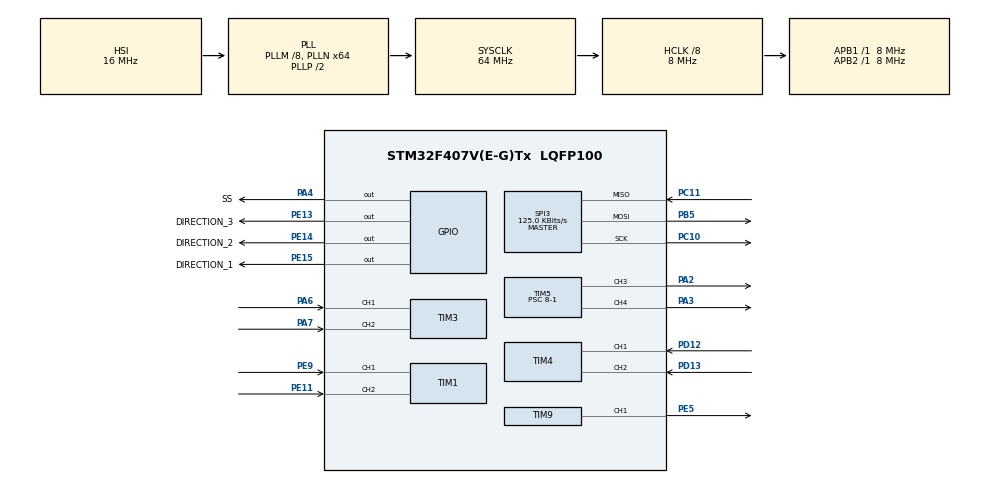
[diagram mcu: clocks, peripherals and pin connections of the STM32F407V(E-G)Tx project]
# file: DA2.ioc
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FREERTOS.Tasks01=CONTROL,8,128,StartControl,Default,NULL,Dynamic,NULL,NULL;PID,24,128,StartPID,Default,NULL,Dynamic,NULL,NULL
Mcu.Family=STM32F4
Mcu.Name=STM32F407V(E-G)Tx
Mcu.Package=LQFP100
NVIC.PriorityGroup=NVIC_PRIORITYGROUP_4
NVIC.TIM1_UP_TIM10_IRQn=true\:15\:0\:false\:false\:true\:false\:false\:true\:true
NVIC.TimeBase=TIM1_UP_TIM10_IRQn
NVIC.TimeBaseIP=TIM10
PA13.Mode=Serial_Wire
PA13.Signal=SYS_JTMS-SWDIO
PA14.Mode=Serial_Wire
PA14.Signal=SYS_JTCK-SWCLK
PA2.Signal=S_TIM5_CH3
PA3.Signal=S_TIM5_CH4
PA4.GPIO_Label=SS
PA4.PinState=GPIO_PIN_RESET
PA4.Signal=GPIO_Output
PA6.Signal=S_TIM3_CH1
PA7.Signal=S_TIM3_CH2
PB5.Mode=Full_Duplex_Master
PB5.Signal=SPI3_MOSI
PC10.Mode=Full_Duplex_Master
PC10.Signal=SPI3_SCK
PC11.Mode=Full_Duplex_Master
PC11.Signal=SPI3_MISO
PD12.Signal=S_TIM4_CH1
PD13.Signal=S_TIM4_CH2
PE11.Signal=S_TIM1_CH2
PE13.GPIO_Label=DIRECTION_3
PE13.Signal=GPIO_Output
PE14.GPIO_Label=DIRECTION_2
PE14.Signal=GPIO_Output
PE15.GPIO_Label=DIRECTION_1
PE15.Signal=GPIO_Output
PE5.Signal=S_TIM9_CH1
PE9.Signal=S_TIM1_CH1
PH0-OSC_IN.Mode=HSE-External-Oscillator
PH0-OSC_IN.Signal=RCC_OSC_IN
PH1-OSC_OUT.Mode=HSE-External-Oscillator
PH1-OSC_OUT.Signal=RCC_OSC_OUT
ProjectManager.HeapSize=0x200
ProjectManager.StackSize=0x400
ProjectManager.TargetToolchain=STM32CubeIDE
RCC.48MHZClocksFreq_Value=32000000
RCC.AHBCLKDivider=RCC_SYSCLK_DIV8
RCC.AHBFreq_Value=8000000
RCC.APB1Freq_Value=8000000
RCC.APB1TimFreq_Value=8000000
RCC.APB2Freq_Value=8000000
RCC.APB2TimFreq_Value=8000000
RCC.CortexFreq_Value=8000000
RCC.HCLKFreq_Value=8000000
RCC.HSE_VALUE=25000000
RCC.HSI_VALUE=16000000
RCC.LSE_VALUE=32768
RCC.PLLM=8
RCC.PLLN=64
RCC.SYSCLKFreq_VALUE=64000000
RCC.SYSCLKSource=RCC_SYSCLKSOURCE_PLLCLK
RCC.VCOOutputFreq_Value=128000000
SH.S_TIM1_CH1.0=TIM1_CH1,Encoder_Interface
SH.S_TIM1_CH2.0=TIM1_CH2,Encoder_Interface
SH.S_TIM3_CH1.0=TIM3_CH1,Encoder_Interface
SH.S_TIM3_CH2.0=TIM3_CH2,Encoder_Interface
SH.S_TIM4_CH1.0=TIM4_CH1,Encoder_Interface
SH.S_TIM4_CH2.0=TIM4_CH2,Encoder_Interface
SH.S_TIM5_CH3.0=TIM5_CH3,PWM Generation3 CH3
SH.S_TIM5_CH4.0=TIM5_CH4,PWM Generation4 CH4
SH.S_TIM9_CH1.0=TIM9_CH1,PWM Generation1 CH1
SPI3.BaudRatePrescaler=SPI_BAUDRATEPRESCALER_64
SPI3.CLKPhase=SPI_PHASE_2EDGE
SPI3.CLKPolarity=SPI_POLARITY_HIGH
SPI3.CalculateBaudRate=125.0 KBits/s
SPI3.Direction=SPI_DIRECTION_2LINES
SPI3.FirstBit=SPI_FIRSTBIT_LSB
SPI3.Mode=SPI_MODE_MASTER
SPI3.VirtualNSS=VM_NSSHARD
SPI3.VirtualType=VM_MASTER
TIM1.EncoderMode=TIM_ENCODERMODE_TI12
TIM3.EncoderMode=TIM_ENCODERMODE_TI12
TIM4.EncoderMode=TIM_ENCODERMODE_TI12
TIM5.Channel-PWM\ Generation3\ CH3=TIM_CHANNEL_3
TIM5.Channel-PWM\ Generation4\ CH4=TIM_CHANNEL_4
TIM5.Period=100-1
TIM5.Prescaler=8-1
TIM9.Channel-PWM\ Generation1\ CH1=TIM_CHANNEL_1
TIM9.Period=100-1
TIM9.Prescaler=8-1
VP_FREERTOS_VS_CMSIS_V2.Mode=CMSIS_V2
VP_SYS_VS_tim10.Mode=TIM10
VP_TIM5_VS_ClockSourceINT.Mode=Internal
VP_TIM9_VS_ClockSourceINT.Mode=Internal
board=custom

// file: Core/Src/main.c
/* USER CODE BEGIN Header */
/**
  ******************************************************************************
  * @file           : main.c
  * @brief          : Main program body
  ******************************************************************************
  * @attention
  *
  * Copyright (c) 2024 STMicroelectronics.
  * All rights reserved.
  *
  * This software is licensed under terms that can be found in the LICENSE file
  * in the root directory of this software component.
  * If no LICENSE file comes with this software, it is provided AS-IS.
  *
  ******************************************************************************
  */
/* USER CODE END Header */
#include "main.h"
#include "cmsis_os.h"

SPI_HandleTypeDef hspi3;

TIM_HandleTypeDef htim1;
TIM_HandleTypeDef htim3;
TIM_HandleTypeDef htim4;
TIM_HandleTypeDef htim5;
TIM_HandleTypeDef htim9;

/* Definitions for CONTROL */
osThreadId_t CONTROLHandle;
const osThreadAttr_t CONTROL_attributes = {
  .name = "CONTROL",
  .stack_size = 128 * 4,
  .priority = (osPriority_t) osPriorityLow,
};
/* Definitions for PID */
osThreadId_t PIDHandle;
const osThreadAttr_t PID_attributes = {
  .name = "PID",
  .stack_size = 128 * 4,
  .priority = (osPriority_t) osPriorityNormal,
};

void SystemClock_Config(void);
static void MX_GPIO_Init(void);
static void MX_TIM1_Init(void);
static void MX_TIM3_Init(void);
static void MX_TIM4_Init(void);
static void MX_TIM5_Init(void);
static void MX_TIM9_Init(void);
static void MX_SPI3_Init(void);
void StartControl(void *argument);
void StartPID(void *argument);

/* USER CODE BEGIN 0 */
PID_Param_t pid;
double out_1, out_2, out_3=0;
double rpm_1, rpm_2, rpm_3=0;

double Vd=0;
double Theta=0;

uint8_t select_hand=5;
uint8_t flag_V_slow=false;
uint8_t rx_data;

void pid_config(void){
	pid.Kp=0.3;
	pid.Ki=0.2;
	pid.Kd=0.005;
	pid.target_val_1=V1;
	pid.target_val_2=V2;
	pid.target_val_3=V3;
	PID_init(&pid);
}

/**---UART6 Interrupt--*/
//void HAL_UART_RxCpltCallback(UART_HandleTypeDef *huart){
//	if(huart->Instance == USART3){
//		HAL_UART_Receive_IT(&huart3, &rx_data, 1);
//	}
//}
//#ifdef __GNUC__
//#define PUTCHAR_PROTOTYPE int __io_putchar(int ch)
//#else
//#define PUTCHAR_PROTOTYPE int fputc(int ch, FILE *f)
//#endif
//
//PUTCHAR_PROTOTYPE
//{
//  HAL_UART_Transmit(&huart2, (uint8_t *)&ch, 1, HAL_MAX_DELAY);
//  return ch;
//}
/* USER CODE END 0 */

int main(void)
{

  /* MCU Configuration--------------------------------------------------------*/

  /* Reset of all peripherals, Initializes the Flash interface and the Systick. */
  HAL_Init();

  /* Configure the system clock */
  SystemClock_Config();

  /* Initialize all configured peripherals */
  MX_GPIO_Init();
  MX_TIM1_Init();
  MX_TIM3_Init();
  MX_TIM4_Init();
  MX_TIM5_Init();
  MX_TIM9_Init();
  MX_SPI3_Init();
  /* USER CODE BEGIN 2 */
//  PCA9685_Init(&hi2c1);

  	__HAL_TIM_SetCompare(&htim5, TIM_CHANNEL_3, 100); //motor 1
  	__HAL_TIM_SetCompare(&htim5, TIM_CHANNEL_4, 100); //motor 2
  	__HAL_TIM_SetCompare(&htim9, TIM_CHANNEL_1, 100); //motor 3

//  	HAL_GPIO_WritePin(DIRECTION_1_GPIO_Port, DIRECTION_1_Pin, GPIO_PIN_SET);
//  	HAL_GPIO_WritePin(DIRECTION_2_GPIO_Port, DIRECTION_2_Pin, GPIO_PIN_SET);
//  	HAL_GPIO_WritePin(DIRECTION_3_GPIO_Port, DIRECTION_3_Pin, GPIO_PIN_SET);

    HAL_TIM_PWM_Start(&htim5, TIM_CHANNEL_3);
    HAL_TIM_PWM_Start(&htim5, TIM_CHANNEL_4);
    HAL_TIM_PWM_Start(&htim9, TIM_CHANNEL_1);

    HAL_TIM_Encoder_Start(&htim1, TIM_CHANNEL_1 | TIM_CHANNEL_2);
    HAL_TIM_Encoder_Start(&htim3, TIM_CHANNEL_1 | TIM_CHANNEL_2);
    HAL_TIM_Encoder_Start(&htim4, TIM_CHANNEL_1 | TIM_CHANNEL_2);

//    UARTStdioConfig(USART2,true);

//    __HAL_UART_ENABLE_IT(&huart5, UART_IT_RXNE);

  /* USER CODE END 2 */

  /* Init scheduler */
  osKernelInitialize();

  /* Create the thread(s) */
  /* creation of CONTROL */
  CONTROLHandle = osThreadNew(StartControl, NULL, &CONTROL_attributes);

  /* creation of PID */
  PIDHandle = osThreadNew(StartPID, NULL, &PID_attributes);

  /* Start scheduler */
  osKernelStart();

  /* We should never get here as control is now taken by the scheduler */
  /* Infinite loop */
  while (1)
  {

  }
}

void SystemClock_Config(void)
{
  RCC_OscInitTypeDef RCC_OscInitStruct = {0};
  RCC_ClkInitTypeDef RCC_ClkInitStruct = {0};

  /** Configure the main internal regulator output voltage
  */
  __HAL_RCC_PWR_CLK_ENABLE();
  __HAL_PWR_VOLTAGESCALING_CONFIG(PWR_REGULATOR_VOLTAGE_SCALE1);

  /** Initializes the RCC Oscillators according to the specified parameters
  * in the RCC_OscInitTypeDef structure.
  */
  RCC_OscInitStruct.OscillatorType = RCC_OSCILLATORTYPE_HSI;
  RCC_OscInitStruct.HSIState = RCC_HSI_ON;
  RCC_OscInitStruct.HSICalibrationValue = RCC_HSICALIBRATION_DEFAULT;
  RCC_OscInitStruct.PLL.PLLState = RCC_PLL_ON;
  RCC_OscInitStruct.PLL.PLLSource = RCC_PLLSOURCE_HSI;
  RCC_OscInitStruct.PLL.PLLM = 8;
  RCC_OscInitStruct.PLL.PLLN = 64;
  RCC_OscInitStruct.PLL.PLLP = RCC_PLLP_DIV2;
  RCC_OscInitStruct.PLL.PLLQ = 4;
  if (HAL_RCC_OscConfig(&RCC_OscInitStruct) != HAL_OK)
  {
    Error_Handler();
  }

  /** Initializes the CPU, AHB and APB buses clocks
  */
  RCC_ClkInitStruct.ClockType = RCC_CLOCKTYPE_HCLK|RCC_CLOCKTYPE_SYSCLK
                              |RCC_CLOCKTYPE_PCLK1|RCC_CLOCKTYPE_PCLK2;
  RCC_ClkInitStruct.SYSCLKSource = RCC_SYSCLKSOURCE_PLLCLK;
  RCC_ClkInitStruct.AHBCLKDivider = RCC_SYSCLK_DIV8;
  RCC_ClkInitStruct.APB1CLKDivider = RCC_HCLK_DIV1;
  RCC_ClkInitStruct.APB2CLKDivider = RCC_HCLK_DIV1;

  if (HAL_RCC_ClockConfig(&RCC_ClkInitStruct, FLASH_LATENCY_0) != HAL_OK)
  {
    Error_Handler();
  }
}

static void MX_SPI3_Init(void)
{

  /* SPI3 parameter configuration*/
  hspi3.Instance = SPI3;
  hspi3.Init.Mode = SPI_MODE_MASTER;
  hspi3.Init.Direction = SPI_DIRECTION_2LINES;
  hspi3.Init.DataSize = SPI_DATASIZE_8BIT;
  hspi3.Init.CLKPolarity = SPI_POLARITY_HIGH;
  hspi3.Init.CLKPhase = SPI_PHASE_2EDGE;
  hspi3.Init.NSS = SPI_NSS_SOFT;
  hspi3.Init.BaudRatePrescaler = SPI_BAUDRATEPRESCALER_64;
  hspi3.Init.FirstBit = SPI_FIRSTBIT_LSB;
  hspi3.Init.TIMode = SPI_TIMODE_DISABLE;
  hspi3.Init.CRCCalculation = SPI_CRCCALCULATION_DISABLE;
  hspi3.Init.CRCPolynomial = 10;
  if (HAL_SPI_Init(&hspi3) != HAL_OK)
  {
    Error_Handler();
  }

}

static void MX_TIM1_Init(void)
{

  TIM_Encoder_InitTypeDef sConfig = {0};
  TIM_MasterConfigTypeDef sMasterConfig = {0};

  htim1.Instance = TIM1;
  htim1.Init.Prescaler = 0;
  htim1.Init.CounterMode = TIM_COUNTERMODE_UP;
  htim1.Init.Period = 65535;
  htim1.Init.ClockDivision = TIM_CLOCKDIVISION_DIV1;
  htim1.Init.RepetitionCounter = 0;
  htim1.Init.AutoReloadPreload = TIM_AUTORELOAD_PRELOAD_DISABLE;
  sConfig.EncoderMode = TIM_ENCODERMODE_TI12;
  sConfig.IC1Polarity = TIM_ICPOLARITY_RISING;
  sConfig.IC1Selection = TIM_ICSELECTION_DIRECTTI;
  sConfig.IC1Prescaler = TIM_ICPSC_DIV1;
  sConfig.IC1Filter = 0;
  sConfig.IC2Polarity = TIM_ICPOLARITY_RISING;
  sConfig.IC2Selection = TIM_ICSELECTION_DIRECTTI;
  sConfig.IC2Prescaler = TIM_ICPSC_DIV1;
  sConfig.IC2Filter = 0;
  if (HAL_TIM_Encoder_Init(&htim1, &sConfig) != HAL_OK)
  {
    Error_Handler();
  }
  sMasterConfig.MasterOutputTrigger = TIM_TRGO_RESET;
  sMasterConfig.MasterSlaveMode = TIM_MASTERSLAVEMODE_DISABLE;
  if (HAL_TIMEx_MasterConfigSynchronization(&htim1, &sMasterConfig) != HAL_OK)
  {
    Error_Handler();
  }

}

static void MX_TIM3_Init(void)
{

  TIM_Encoder_InitTypeDef sConfig = {0};
  TIM_MasterConfigTypeDef sMasterConfig = {0};

  htim3.Instance = TIM3;
  htim3.Init.Prescaler = 0;
  htim3.Init.CounterMode = TIM_COUNTERMODE_UP;
  htim3.Init.Period = 65535;
  htim3.Init.ClockDivision = TIM_CLOCKDIVISION_DIV1;
  htim3.Init.AutoReloadPreload = TIM_AUTORELOAD_PRELOAD_DISABLE;
  sConfig.EncoderMode = TIM_ENCODERMODE_TI12;
  sConfig.IC1Polarity = TIM_ICPOLARITY_RISING;
  sConfig.IC1Selection = TIM_ICSELECTION_DIRECTTI;
  sConfig.IC1Prescaler = TIM_ICPSC_DIV1;
  sConfig.IC1Filter = 0;
  sConfig.IC2Polarity = TIM_ICPOLARITY_RISING;
  sConfig.IC2Selection = TIM_ICSELECTION_DIRECTTI;
  sConfig.IC2Prescaler = TIM_ICPSC_DIV1;
  sConfig.IC2Filter = 0;
  if (HAL_TIM_Encoder_Init(&htim3, &sConfig) != HAL_OK)
  {
    Error_Handler();
  }
  sMasterConfig.MasterOutputTrigger = TIM_TRGO_RESET;
  sMasterConfig.MasterSlaveMode = TIM_MASTERSLAVEMODE_DISABLE;
  if (HAL_TIMEx_MasterConfigSynchronization(&htim3, &sMasterConfig) != HAL_OK)
  {
    Error_Handler();
  }

}

static void MX_TIM4_Init(void)
{

  TIM_Encoder_InitTypeDef sConfig = {0};
  TIM_MasterConfigTypeDef sMasterConfig = {0};

  htim4.Instance = TIM4;
  htim4.Init.Prescaler = 0;
  htim4.Init.CounterMode = TIM_COUNTERMODE_UP;
  htim4.Init.Period = 65535;
  htim4.Init.ClockDivision = TIM_CLOCKDIVISION_DIV1;
  htim4.Init.AutoReloadPreload = TIM_AUTORELOAD_PRELOAD_DISABLE;
  sConfig.EncoderMode = TIM_ENCODERMODE_TI12;
  sConfig.IC1Polarity = TIM_ICPOLARITY_RISING;
  sConfig.IC1Selection = TIM_ICSELECTION_DIRECTTI;
  sConfig.IC1Prescaler = TIM_ICPSC_DIV1;
  sConfig.IC1Filter = 0;
  sConfig.IC2Polarity = TIM_ICPOLARITY_RISING;
  sConfig.IC2Selection = TIM_ICSELECTION_DIRECTTI;
  sConfig.IC2Prescaler = TIM_ICPSC_DIV1;
  sConfig.IC2Filter = 0;
  if (HAL_TIM_Encoder_Init(&htim4, &sConfig) != HAL_OK)
  {
    Error_Handler();
  }
  sMasterConfig.MasterOutputTrigger = TIM_TRGO_RESET;
  sMasterConfig.MasterSlaveMode = TIM_MASTERSLAVEMODE_DISABLE;
  if (HAL_TIMEx_MasterConfigSynchronization(&htim4, &sMasterConfig) != HAL_OK)
  {
    Error_Handler();
  }

}

static void MX_TIM5_Init(void)
{

  TIM_ClockConfigTypeDef sClockSourceConfig = {0};
  TIM_MasterConfigTypeDef sMasterConfig = {0};
  TIM_OC_InitTypeDef sConfigOC = {0};

  htim5.Instance = TIM5;
  htim5.Init.Prescaler = 8-1;
  htim5.Init.CounterMode = TIM_COUNTERMODE_UP;
  htim5.Init.Period = 100-1;
  htim5.Init.ClockDivision = TIM_CLOCKDIVISION_DIV1;
  htim5.Init.AutoReloadPreload = TIM_AUTORELOAD_PRELOAD_DISABLE;
  if (HAL_TIM_Base_Init(&htim5) != HAL_OK)
  {
    Error_Handler();
  }
  sClockSourceConfig.ClockSource = TIM_CLOCKSOURCE_INTERNAL;
  if (HAL_TIM_ConfigClockSource(&htim5, &sClockSourceConfig) != HAL_OK)
  {
    Error_Handler();
  }
  if (HAL_TIM_PWM_Init(&htim5) != HAL_OK)
  {
    Error_Handler();
  }
  sMasterConfig.MasterOutputTrigger = TIM_TRGO_RESET;
  sMasterConfig.MasterSlaveMode = TIM_MASTERSLAVEMODE_DISABLE;
  if (HAL_TIMEx_MasterConfigSynchronization(&htim5, &sMasterConfig) != HAL_OK)
  {
    Error_Handler();
  }
  sConfigOC.OCMode = TIM_OCMODE_PWM1;
  sConfigOC.Pulse = 0;
  sConfigOC.OCPolarity = TIM_OCPOLARITY_HIGH;
  sConfigOC.OCFastMode = TIM_OCFAST_DISABLE;
  if (HAL_TIM_PWM_ConfigChannel(&htim5, &sConfigOC, TIM_CHANNEL_3) != HAL_OK)
  {
    Error_Handler();
  }
  if (HAL_TIM_PWM_ConfigChannel(&htim5, &sConfigOC, TIM_CHANNEL_4) != HAL_OK)
  {
    Error_Handler();
  }
  HAL_TIM_MspPostInit(&htim5);

}

static void MX_TIM9_Init(void)
{

  TIM_ClockConfigTypeDef sClockSourceConfig = {0};
  TIM_OC_InitTypeDef sConfigOC = {0};

  htim9.Instance = TIM9;
  htim9.Init.Prescaler = 8-1;
  htim9.Init.CounterMode = TIM_COUNTERMODE_UP;
  htim9.Init.Period = 100-1;
  htim9.Init.ClockDivision = TIM_CLOCKDIVISION_DIV1;
  htim9.Init.AutoReloadPreload = TIM_AUTORELOAD_PRELOAD_DISABLE;
  if (HAL_TIM_Base_Init(&htim9) != HAL_OK)
  {
    Error_Handler();
  }
  sClockSourceConfig.ClockSource = TIM_CLOCKSOURCE_INTERNAL;
  if (HAL_TIM_ConfigClockSource(&htim9, &sClockSourceConfig) != HAL_OK)
  {
    Error_Handler();
  }
  if (HAL_TIM_PWM_Init(&htim9) != HAL_OK)
  {
    Error_Handler();
  }
  sConfigOC.OCMode = TIM_OCMODE_PWM1;
  sConfigOC.Pulse = 0;
  sConfigOC.OCPolarity = TIM_OCPOLARITY_HIGH;
  sConfigOC.OCFastMode = TIM_OCFAST_DISABLE;
  if (HAL_TIM_PWM_ConfigChannel(&htim9, &sConfigOC, TIM_CHANNEL_1) != HAL_OK)
  {
    Error_Handler();
  }
  HAL_TIM_MspPostInit(&htim9);

}

static void MX_GPIO_Init(void)
{
  GPIO_InitTypeDef GPIO_InitStruct = {0};

  /* GPIO Ports Clock Enable */
  __HAL_RCC_GPIOE_CLK_ENABLE();
  __HAL_RCC_GPIOH_CLK_ENABLE();
  __HAL_RCC_GPIOA_CLK_ENABLE();
  __HAL_RCC_GPIOD_CLK_ENABLE();
  __HAL_RCC_GPIOC_CLK_ENABLE();
  __HAL_RCC_GPIOB_CLK_ENABLE();

  /*Configure GPIO pin Output Level */
  HAL_GPIO_WritePin(SS_GPIO_Port, SS_Pin, GPIO_PIN_RESET);

  /*Configure GPIO pin Output Level */
  HAL_GPIO_WritePin(GPIOE, DIRECTION_3_Pin|DIRECTION_2_Pin|DIRECTION_1_Pin, GPIO_PIN_RESET);

  /*Configure GPIO pin : SS_Pin */
  GPIO_InitStruct.Pin = SS_Pin;
  GPIO_InitStruct.Mode = GPIO_MODE_OUTPUT_PP;
  GPIO_InitStruct.Pull = GPIO_NOPULL;
  GPIO_InitStruct.Speed = GPIO_SPEED_FREQ_LOW;
  HAL_GPIO_Init(SS_GPIO_Port, &GPIO_InitStruct);

  /*Configure GPIO pins : DIRECTION_3_Pin DIRECTION_2_Pin DIRECTION_1_Pin */
  GPIO_InitStruct.Pin = DIRECTION_3_Pin|DIRECTION_2_Pin|DIRECTION_1_Pin;
  GPIO_InitStruct.Mode = GPIO_MODE_OUTPUT_PP;
  GPIO_InitStruct.Pull = GPIO_NOPULL;
  GPIO_InitStruct.Speed = GPIO_SPEED_FREQ_LOW;
  HAL_GPIO_Init(GPIOE, &GPIO_InitStruct);

}

/* USER CODE BEGIN 4 */
void Moving(uint8_t PSX_RX, double Vd, double Theta){
	if(flag_V_slow==true) Vd /= 1000.0f;
	else if(flag_V_slow==false) Vd /= 1.0f;
	Robot_Move(Vd, Theta,0);
	switch(PSX_RX){
	case Rotate_Right:
		Robot_Move(0, 0, -0.3);
		break;
	case Rotate_Left:
		Robot_Move(0, 0, 0.3);
		break;
	}
}
void Hand(uint8_t PSX_RX){
	switch(PSX_RX){
	case Fast:
		flag_V_slow=false;
		break;
	case Slow:
		flag_V_slow=true;
		break;
	}

}
void Calculate_angle(double LX, double LY) {

    double angle_rad = atan(LY / LX);
    Theta = angle_rad * (180.0f / PI)-30.0f;
    if(LX < 0)Theta += 180.0f;
    if(LX >= 0 && LY < 0)Theta += 360.0f;
    if(Theta<0) Theta+=360.0f;
}

void Calculate_Vd(uint8_t PSX_RX[]){
	int8_t LX=PSX_RX[7];
	int8_t LY=PSX_RX[8];

	LX=LX-128;
	LY=127-LY;

	Vd=(fabs(LX)>=fabs(LY))?fabs(LX):fabs(LY);
	Calculate_angle((double)LX, (double)LY);
}

/* USER CODE END 4 */

void StartControl(void *argument)
{
  /* USER CODE BEGIN 5 */

  /* Infinite loop */
  for(;;)
  {
	uint8_t PSX_RX[9]= { 0x00 };
	uint8_t PSX_TX[2] = {
		0x01, 0x42
	};
	spi_enable;
	HAL_SPI_TransmitReceive(&hspi3, PSX_TX, PSX_RX, 9, 10);
	spi_disable;
	if(PSX_RX[1]==0x73){
		Calculate_Vd(PSX_RX);
		Hand(PSX_RX[4]);
		Moving(PSX_RX[3],Vd,Theta);
	}

		osDelay(100);

  }
  /* USER CODE END 5 */
}

void StartPID(void *argument)
{
  /* USER CODE BEGIN StartPID */
  /* Infinite loop */
  for(;;)
  {

	PID();
	osDelay(50);
  }
  /* USER CODE END StartPID */
}

void HAL_TIM_PeriodElapsedCallback(TIM_HandleTypeDef *htim)
{
  if (htim->Instance == TIM10) {
    HAL_IncTick();
  }
}

void Error_Handler(void)
{
  __disable_irq();
  while (1)
  {
  }
}
